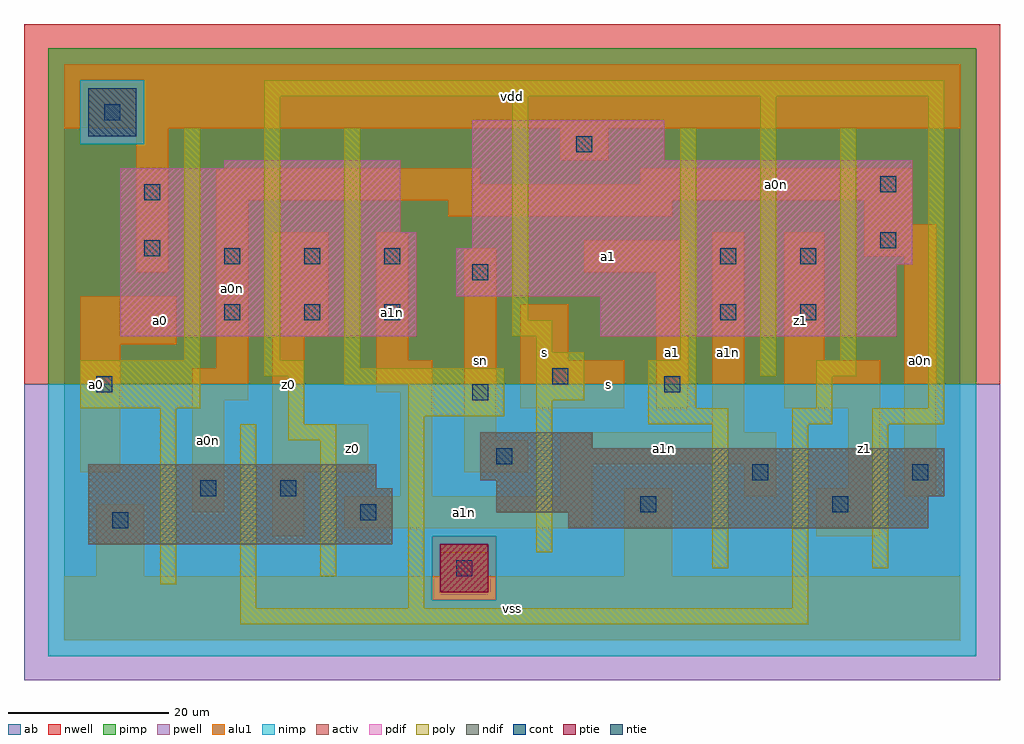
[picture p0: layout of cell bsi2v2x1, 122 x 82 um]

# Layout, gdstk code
import gdstk
lib = gdstk.Library(unit=1e-6, precision=1e-09)
def R(c, l, rs):  # rectangles x0, y0, x1, y1
    for r in rs: c.add(gdstk.rectangle(r[:2], r[2:], *l))
def A(c, l, x, y, w, h, nx, ny, dx, dy):  # array of equal rectangles
    R(c, l, [(x+i*dx, y+j*dy, x+i*dx+w, y+j*dy+h) for i in range(nx) for j in range(ny)])
ndif = (3, 0)
pdif = (4, 0)
ntie = (5, 0)
ptie = (6, 0)
cont = (25, 0)
pwell = (41, 0)
nwell = (42, 0)
activ = (43, 0)
pimp = (44, 0)
nimp = (45, 0)
poly = (46, 0)
alu1 = (49, 0)
ab = (63, 0)

bsi2v2x1 = lib.new_cell('bsi2v2x1')
R(bsi2v2x1, ndif, [(3,12,41,19), (63,14,108,16), (54,16,108,18), (54,18,110,20), (3,19,39,22), (52,20,110,24), (52,24,66,26)])
R(bsi2v2x1, pdif, [(7,38,44,51), (67,38,104,43), (49,43,104,47), (49,47,106,49), (51,49,106,60), (7,51,42,59), (20,59,42,60), (51,60,75,65)])
R(bsi2v2x1, ntie, [(3,63,9,69)])
R(bsi2v2x1, ptie, [(47,6,53,12)])
A(bsi2v2x1, cont, 20, 40, 2, 2, 3, 2, 10, 7)
R(bsi2v2x1, cont, [(49,8,51,10), (6,14,8,16), (37,15,39,17), (72,16,74,18), (96,16,98,18), (17,18,19,20), (27,18,29,20), (86,20,88,22), (106,20,108,22), (54,22,56,24), (51,30,53,32), (4,31,6,33), (75,31,77,33), (61,32,63,34), (82,40,84,42), (92,40,94,42), (51,45,53,47), (82,47,84,49), (92,47,94,49), (10,48,12,50), (102,49,104,51), (10,55,12,57), (102,56,104,58), (64,61,66,63), (5,65,7,67)])
R(bsi2v2x1, pwell, [(-5,-5,117,32)])
R(bsi2v2x1, nwell, [(-5,32,117,77)])
R(bsi2v2x1, activ, [(47,6,53,12), (3,12,41,19), (63,14,108,16), (54,16,108,18), (54,18,110,20), (3,19,39,22), (52,20,110,24), (52,24,66,26), (7,38,44,51), (67,38,104,43), (49,43,104,47), (49,47,106,49), (51,49,106,60), (7,51,42,59), (20,59,42,60), (51,60,75,65), (3,63,9,69)])
R(bsi2v2x1, pimp, [(46,5,54,13), (-2,32,114,62), (-2,62,2,70), (10,62,114,70), (-2,70,114,74)])
R(bsi2v2x1, nimp, [(-2,-2,114,5), (-2,5,46,13), (54,5,114,13), (-2,13,114,32), (2,62,10,70)])
R(bsi2v2x1, poly, [(22,2,93,4), (22,4,24,27), (43,4,45,28), (91,4,93,27), (12,7,14,29), (32,8,34,25), (81,9,83,27), (101,9,103,27), (59,11,61,30), (28,25,34,27), (28,27,30,33), (73,27,83,29), (91,27,96,29), (101,27,110,29), (43,28,55,32), (2,29,17,35), (73,29,79,35), (94,29,96,33), (108,29,110,68), (59,30,65,36), (35,32,55,34), (25,33,30,35), (87,33,89,68), (94,33,99,35), (35,34,37,64), (15,35,17,64), (25,35,27,68), (77,35,79,64), (97,35,99,64), (59,36,61,38), (56,38,61,40), (56,40,58,68), (25,68,110,70)])
R(bsi2v2x1, alu1, [(0,0,112,8), (4,8,10,17), (47,8,53,11), (70,8,76,19), (26,13,30,21), (94,13,102,19), (35,14,66,18), (16,16,20,30), (42,18,46,31), (62,18,66,22), (85,18,89,22), (105,18,109,48), (98,19,102,29), (2,21,7,37), (26,21,38,27), (50,21,58,25), (62,22,89,26), (50,25,54,49), (81,26,85,51), (26,27,30,38), (57,29,70,35), (74,29,78,46), (90,29,102,35), (16,30,23,34), (39,31,46,35), (19,34,23,55), (39,35,43,51), (57,35,63,42), (90,35,95,51), (2,37,14,43), (26,38,33,51), (9,46,13,64), (65,46,78,50), (100,48,109,52), (100,52,106,55), (48,53,76,55), (19,55,106,57), (19,57,52,59), (72,57,106,59), (62,60,68,64), (0,64,112,72)])
R(bsi2v2x1, ab, [(0,0,112,72)])
bsi2v2x1.add(gdstk.Label('a0n', (18,25), layer=49, texttype=0))
bsi2v2x1.add(gdstk.Label('a0n', (21,44), layer=49, texttype=0))
bsi2v2x1.add(gdstk.Label('sn', (52,35), layer=49, texttype=0))
bsi2v2x1.add(gdstk.Label('a1n', (41,41), layer=49, texttype=0))
bsi2v2x1.add(gdstk.Label('a1n', (50,16), layer=49, texttype=0))
bsi2v2x1.add(gdstk.Label('a1n', (75,24), layer=49, texttype=0))
bsi2v2x1.add(gdstk.Label('a1n', (83,36), layer=49, texttype=0))
bsi2v2x1.add(gdstk.Label('a0n', (107,35), layer=49, texttype=0))
bsi2v2x1.add(gdstk.Label('a0n', (89,57), layer=49, texttype=0))
bsi2v2x1.add(gdstk.Label('a0', (4,32), layer=49, texttype=0))
bsi2v2x1.add(gdstk.Label('a0', (12,40), layer=49, texttype=0))
bsi2v2x1.add(gdstk.Label('z0', (28,32), layer=49, texttype=0))
bsi2v2x1.add(gdstk.Label('z0', (36,24), layer=49, texttype=0))
bsi2v2x1.add(gdstk.Label('vss', (56,4), layer=49, texttype=0))
bsi2v2x1.add(gdstk.Label('s', (68,32), layer=49, texttype=0))
bsi2v2x1.add(gdstk.Label('a1', (76,36), layer=49, texttype=0))
bsi2v2x1.add(gdstk.Label('s', (60,36), layer=49, texttype=0))
bsi2v2x1.add(gdstk.Label('a1', (68,48), layer=49, texttype=0))
bsi2v2x1.add(gdstk.Label('vdd', (56,68), layer=49, texttype=0))
bsi2v2x1.add(gdstk.Label('z1', (100,24), layer=49, texttype=0))
bsi2v2x1.add(gdstk.Label('z1', (92,40), layer=49, texttype=0))

lib.write_gds('bsi2v2x1.gds')
